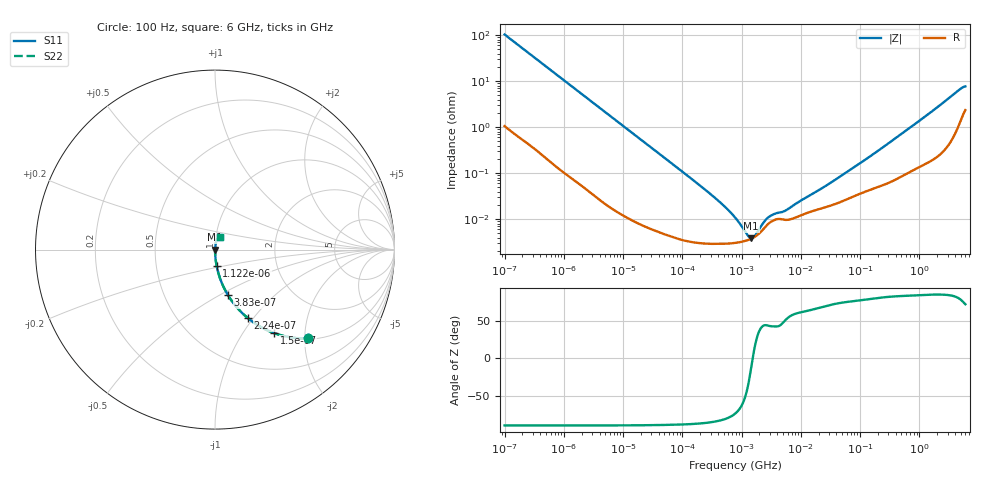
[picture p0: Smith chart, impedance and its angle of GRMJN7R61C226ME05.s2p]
!Murata Part Number: GRMJN7R61C226ME05
!These Parameters are Measured in Series Mode Connection
!Data Generated on Mar 30, 2021
!  o--ll--o
!Port1  Port2
!  o------o
!Operation Temp=25[degC], DC Bias Voltage=0[V]
!Freq. Start=100[Hz] Stop=6[GHz] 401[Steps]
# Hz S RI R 50
!Freq.(Hz) S11(Real) S11(Imag) S21(Real) S21(Imag) S12(Real) S12(Imag) S22(Real) S22(Imag)
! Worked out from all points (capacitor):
!   401 points, 100 Hz to 6 GHz, reference 50 ohm
!   read as one part in series: C = 15.2 uF near 109 Hz
!   lowest |Z| = 3.86 mohm at 1.45 MHz (marker M1)
!   series resonance near 1.541 MHz, so ESL is about 700 pH
!   S11 on the Smith chart (normalised r, x): 100 Hz: 1.02, -2.08; 150 Hz: 1.01, -1.40; 224 Hz: 1.01, -0.94; 383 Hz: 1.01, -0.55; 1.122 kHz: 1.00, -0.19; 6 GHz: 1.05, +0.15
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100  0.5204 -0.4945  0.4796 0.4945  0.4796 0.4945  0.5204 -0.4945
150  0.3293 -0.4649  0.6707 0.4649  0.6707 0.4649  0.3293 -0.4649
224  0.182 -0.3808  0.818 0.3808  0.818 0.3808  0.182 -0.3808
383  0.0722 -0.2538  0.9278 0.2538  0.9278 0.2538  0.0722 -0.2538
627  0.029 -0.163  0.971 0.163  0.971 0.163  0.029 -0.163
1122  0.00971 -0.0933  0.9903 0.0933  0.9903 0.0933  0.00971 -0.0933
2008  0.00331 -0.0527  0.9967 0.0527  0.9967 0.0527  0.00331 -0.0527
40335  5.94e-05 -0.00268  0.9999 0.00268  0.9999 0.00268  5.94e-05 -0.00268
316350  2.92e-05 -0.00033  1 0.00033  1 0.00033  2.92e-05 -0.00033
517687  2.93e-05 -0.000187  1 0.000187  1 0.000187  2.93e-05 -0.000187
774597  3.05e-05 -0.000105  1 0.000105  1 0.000105  3.05e-05 -0.000105
885955  3.13e-05 -8.26e-05  1 8.26e-05  1 8.26e-05  3.13e-05 -8.26e-05
1449809  3.76e-05 -8.6e-06  1 8.6e-06  1 8.6e-06  3.76e-05 -8.6e-06
2481164  6.64e-05 6.49e-05  0.9999 -6.49e-05  0.9999 -6.49e-05  6.64e-05 6.49e-05
3549919  9.53e-05 8.8e-05  0.9999 -8.8e-05  0.9999 -8.8e-05  9.53e-05 8.8e-05
5079039  9.78e-05 0.000109  0.9999 -0.000109  0.9999 -0.000109  9.78e-05 0.000109
1.555665e7  0.000149 0.00032  0.9999 -0.00032  0.9999 -0.00032  0.000149 0.00032
4.35672e7  0.000229 0.000776  0.9998 -0.000776  0.9998 -0.000776  0.000229 0.000776
3.124326e8  0.000647 0.00458  0.9994 -0.00458  0.9994 -0.00458  0.000647 0.00458
1.431855e9  0.00209 0.0193  0.9979 -0.0193  0.9979 -0.0193  0.00209 0.0193
4.586474e9  0.0142 0.0611  0.9858 -0.0611  0.9858 -0.0611  0.0142 0.0611
6e9  0.0281 0.0701  0.9719 -0.0701  0.9719 -0.0701  0.0281 0.0701
